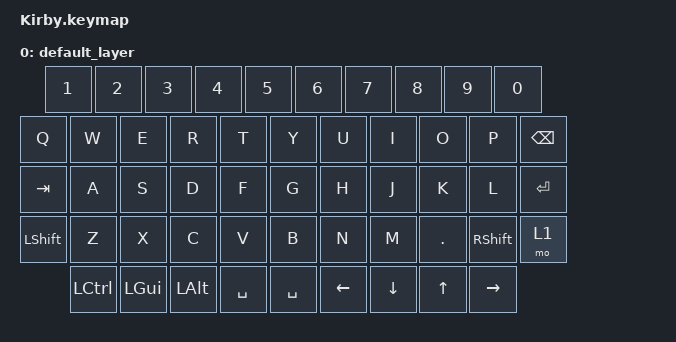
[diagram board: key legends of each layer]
#include <behaviors.dtsi>
#include <dt-bindings/zmk/bt.h>
#include <dt-bindings/zmk/keys.h>
#include <dt-bindings/zmk/outputs.h>

/ {
    sensor-bindings = <&inc_dec_kp C_VOL_UP C_VOL_DN>;
	keymap {
		compatible = "zmk,keymap";
		
		default_layer {
// ------------------------------------------------------------------------------------------
// | ESC |  1  |  2  |  3  |  4  |  5  |  6  |  7  |  8  |  9  |  0  |  -  |  =  |   BKSP   |
// | TAB  |  Q  |  W  |  E  |  R  |  T  |  Y  |  U  |  I  |  O  |  P  |  [  |  ]  |   "|"   |
// | CAPS  |  A  |  S  |  D  |  F  |  G  |  H  |  J  |  K  |  L  |  ;  |  '  |     ENTER    |
// |  SHIFT  |  Z  |  X  |  C  |  V  |  B  |  N  |  M  |  ,  |  .  |  /  |      SHIFT       |
// |  CTL  |  WIN  |  ALT  |            SPACE              |  ALT  |  WIN  |  MO(1) |  CTL  |
// ------------------------------------------------------------------------------------------
			bindings = <
	&kp N1 &kp N2 &kp N3 &kp N4 &kp N5 &kp N6 &kp N7 &kp N8 &kp N9 &kp N0  
	&kp Q  &kp W  &kp E  &kp R  &kp T  &kp Y  &kp U  &kp I  &kp O  &kp P  &kp BSPC
	&kp TAB  &kp A  &kp S  &kp D  &kp F  &kp G  &kp H  &kp J  &kp K  &kp L  &kp ENTER
	&kp LSHFT   &kp Z  &kp X  &kp C  &kp V  &kp B  &kp N  &kp M  &kp DOT  &kp RSHFT &mo 1
	&kp LCTRL &kp LGUI &kp LALT     &kp SPACE    &kp SPACE   &kp LEFT  &kp DOWN   &kp UP &kp RIGHT
			>;
		
		};
	};
};
